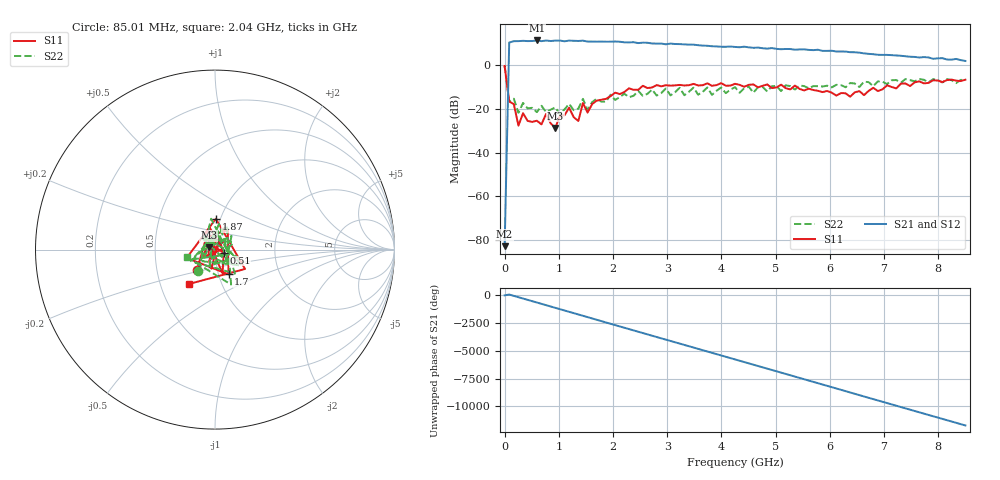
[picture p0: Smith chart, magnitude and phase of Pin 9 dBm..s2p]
! RsaToolbox (C) 2013 Rohde & Schwarz America
! Number of points: 101
! Number of ports: 2
! Balanced ports?: 0
# Hz S RI R 50
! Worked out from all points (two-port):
!   101 points, 9 kHz to 8.5 GHz, reference 50 ohm
!   highest |S21| = 11.48 dB at 595 MHz (marker M1); lowest = -82.8 dB at 9 kHz (marker M2)
!   |S21| within 3 dB of the highest: 83.13 MHz to 4.266 GHz (4.183 GHz wide, 192 % of centre); 4.372 GHz to 4.461 GHz (88.76 MHz wide, 2.01 % of centre)
!   lowest |S11| = -28.6 dB at 935 MHz (marker M3), VSWR 1.08, Z = 46.6 + j1.23 ohm
!   |S11| at or under -10 dB: 51.12 MHz to 2.518 GHz (2.467 GHz wide, 192 % of centre); 2.607 GHz to 2.726 GHz (119.1 MHz wide, 4.47 % of centre); 5.399 GHz to 7.013 GHz (1.614 GHz wide, 26 % of centre) (the widest 3 of 7)
!   |S22| runs from -22.3 to -0.1 dB; largest |S21 - S12| = 0
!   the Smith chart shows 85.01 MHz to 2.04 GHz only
!   S11 on the Smith chart (normalised r, x): 85.01 MHz: 0.80, -0.18; 510 MHz: 1.10, -0.04; 1.7 GHz: 1.12, -0.32; 1.87 GHz: 0.95, +0.34; 2.04 GHz: 0.70, -0.28
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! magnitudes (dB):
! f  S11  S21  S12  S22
! 9 kHz  -0.2  -82.8  -82.8  -0.1
! 85.01 MHz  -16.5  10.5  10.5  -16.5
! 170 MHz  -17.7  11.1  11.1  -15.2
! 255 MHz  -27.6  11.2  11.2  -21.7
! 340 MHz  -21.9  11.3  11.3  -17.2
! 510 MHz  -25.9  11.2  11.2  -19.4
! 595 MHz  -25.3  11.5  11.5  -21.4
! 765 MHz  -22.2  11.4  11.4  -21.3
! 935 MHz  -28.6  11.4  11.4  -19.2
! 1.19 GHz  -19.4  11.4  11.4  -17.6
! 1.36 GHz  -25.4  11.2  11.2  -19.8
! 1.445 GHz  -17.2  11.4  11.4  -15.3
! 1.53 GHz  -21.6  11.0  11.0  -20.4
! 1.7 GHz  -16.1  10.9  10.9  -15.2
! 1.87 GHz  -15.3  10.9  10.9  -16.6
! 2.04 GHz  -12.4  11.0  11.0  -15.8
! 2.89 GHz  -9.6  10.1  10.1  -12.6
! 4.25 GHz  -8.4  8.5  8.5  -9.9
! 5.695 GHz  -11.2  7.0  7.0  -9.4
! 6.375 GHz  -14.3  6.1  6.1  -8.0
! 7.14 GHz  -9.9  4.7  4.7  -6.7
! 8.5 GHz  -6.5  2.1  2.1  -6.7
